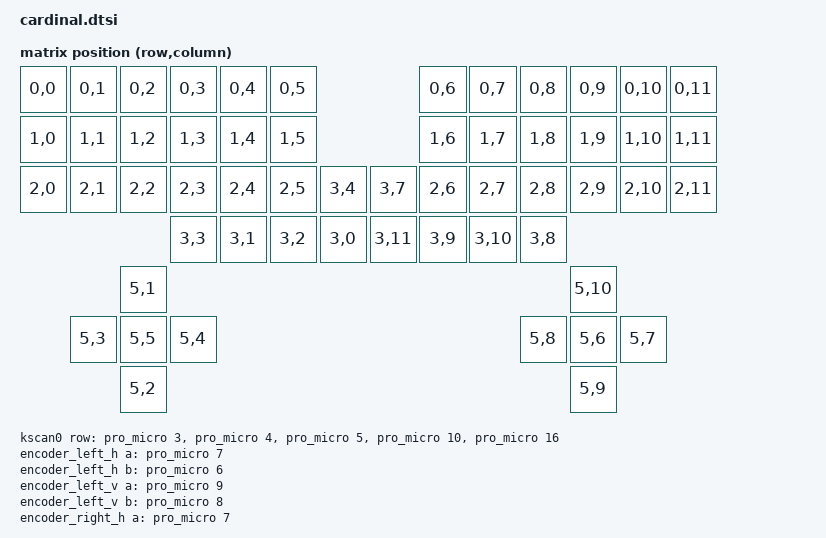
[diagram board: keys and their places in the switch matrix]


#include <dt-bindings/zmk/matrix_transform.h>

/ {

	chosen {
        zephyr,display = &oled;
		zmk,kscan = &kscan0;
		zmk,matrix_transform = &default_transform;
	};

	default_transform: keymap_transform_0 {
		compatible = "zmk,matrix-transform";
		columns = <12>;
		rows = <5>;

        // --------------------------------------------------------------------------------------------------------------------------------------------------------------------
        // Example layout from the schematic, we start at -1 column up to 5, with the posibility to remove the -1 column
        // then we have 3 main rows, 1 row dedicated for the thumb and 1 row for the 5 way. This is almost a perfect matrix and we could in theory get 2 extra switches from the matrix
        // In the opt spaces can be either the 5 way switch or a rotary encoder EWQDG from panasonic, with native support for 2 encoders or 1 encoder + 5 way switch, or you could handwire it #yolo
        // We map the 5 way switch in a funky way, because i can
        //         -1         1        2         3         4         5
        //1   |   ESC   |    Q    |    W    |    E    |    R    |    T    |                       |    Y    |    U    |    I    |    O    |    P    |    \    |
        //2   |   TAB   |    A    |    S    |    D    |    F    |    G    |                       |    H    |    J    |    K    |    L    |    ;    |    '    |
        //3   |  SHIFT  |    Z    |    X    |    C    |    V    |    B    |  (opt)  |   |  (opt)  |    N    |    M    |    ,    |    .    |    /    |  R CTRL |
        //T                                 |  (opt)  |    ALT  | RETURN  |  SPACE  |   |   TAB   |   BSPC  |   WIN   |  (opt)  |
        //5 (5 way)

		map = <
		    RC(0,0)  RC(0,1)  RC(0,2)  RC(0,3)  RC(0,4)  RC(0,5)                     RC(0,6)  RC(0,7)  RC(0,8)  RC(0,9)  RC(0,10) RC(0,11)
		    RC(1,0)  RC(1,1)  RC(1,2)  RC(1,3)  RC(1,4)  RC(1,5)                     RC(1,6)  RC(1,7)  RC(1,8)  RC(1,9)  RC(1,10) RC(1,11)
		    RC(2,0)  RC(2,1)  RC(2,2)  RC(2,3)  RC(2,4)  RC(2,5)  RC(3,4)  RC(3,7)   RC(2,6)  RC(2,7)  RC(2,8)  RC(2,9)  RC(2,10) RC(2,11)
		                               RC(3,3)  RC(3,1)  RC(3,2)  RC(3,0)  RC(3,11)  RC(3,9)  RC(3,10) RC(3,8)
                              RC(5,1)                                                                           RC(5,10)
                     RC(5,3)  RC(5,5)  RC(5,4)                                                         RC(5,8)  RC(5,6)  RC(5,7)               
                              RC(5,2)                                                                           RC(5,9)
		>;
	};

	kscan0: kscan {
		compatible = "zmk,kscan-gpio-matrix";
        diode-direction = "col2row";
		row-gpios
		    = <&pro_micro 3  (GPIO_ACTIVE_HIGH  | GPIO_PULL_DOWN)> 
		    , <&pro_micro 4  (GPIO_ACTIVE_HIGH  | GPIO_PULL_DOWN)>
            , <&pro_micro 5  (GPIO_ACTIVE_HIGH  | GPIO_PULL_DOWN)>
            , <&pro_micro 10 (GPIO_ACTIVE_HIGH  | GPIO_PULL_DOWN)>
            , <&pro_micro 16 (GPIO_ACTIVE_HIGH  | GPIO_PULL_DOWN)> //row for 5 way
		    ;
	};

	encoder_left_h: left_encoder_h {
        compatible = "alps,ec11";
        a-gpios = <&pro_micro 7 (GPIO_ACTIVE_HIGH | GPIO_PULL_UP)>;
        b-gpios = <&pro_micro 6 (GPIO_ACTIVE_HIGH | GPIO_PULL_UP)>;
        steps = <80>;
        status = "disabled";
    };

    encoder_left_v: left_encoder_v {
        compatible = "alps,ec11";
        a-gpios = <&pro_micro 9 (GPIO_ACTIVE_HIGH | GPIO_PULL_UP)>;
        b-gpios = <&pro_micro 8 (GPIO_ACTIVE_HIGH | GPIO_PULL_UP)>;
        steps = <80>;
        status = "disabled";
    };

    encoder_right_h: right_encoder_h {
        compatible = "alps,ec11";
        a-gpios = <&pro_micro 7 (GPIO_ACTIVE_HIGH | GPIO_PULL_UP)>;
        b-gpios = <&pro_micro 6 (GPIO_ACTIVE_HIGH | GPIO_PULL_UP)>;
        steps = <80>;
        status = "disabled";
    };

    encoder_right_v: right_encoder_v {
        compatible = "alps,ec11";
        a-gpios = <&pro_micro 9 (GPIO_ACTIVE_HIGH | GPIO_PULL_UP)>;
        b-gpios = <&pro_micro 8 (GPIO_ACTIVE_HIGH | GPIO_PULL_UP)>;
        steps = <80>;
        status = "disabled";
    };

	sensors {
        compatible = "zmk,keymap-sensors";
        sensors = < &encoder_left_h 
                    &encoder_left_v 
                    &encoder_right_h 
                    &encoder_right_v>;
        triggers-per-rotation = <20>;
    };

};

&pinctrl {

    i2c0_default: i2c0_default {
        group1 {
            psels = <NRF_PSEL(TWIM_SDA, 0, 8)>,
                    <NRF_PSEL(TWIM_SCL, 0, 17)>;
        };
    };
    i2c0_sleep: i2c0_sleep {
        group1 {
            psels = <NRF_PSEL(TWIM_SDA, 0, 8)>,
                    <NRF_PSEL(TWIM_SCL, 0, 17)>;
            low-power-enable;
            };
       };

    spi0_default: spi0_default {
        group1 {
            psels = <NRF_PSEL(SPIM_SCK, 0, 20)>,
                    <NRF_PSEL(SPIM_MOSI, 0, 8)>,
                    <NRF_PSEL(SPIM_MISO, 0, 17)>;
        };
    };
    spi0_sleep: spi0_sleep {
        group1 {
            psels = <NRF_PSEL(SPIM_SCK, 0, 6)>,
                    <NRF_PSEL(SPIM_MOSI, 0, 8)>,
                    <NRF_PSEL(SPIM_MISO, 0, 17)>;
            low-power-enable;
        };
    };
};

&pro_micro_i2c {
    status = "okay";

    oled: ssd1306@3c {
        compatible = "solomon,ssd1306fb";
        reg = <0x3c>;
        width = <128>;
        height = <64>;
        segment-offset = <0>;
        page-offset = <0>;
        display-offset = <0>;
        multiplex-ratio = <63>;//31
        //segment-remap;
        //com-invdir;
        //com-sequential;
        prechargep = <0x22>;
    };
};

nice_view_spi: &spi0 {
    status = "disabled";

    compatible = "nordic,nrf-spim";
    pinctrl-0 = <&spi0_default>;
    pinctrl-1 = <&spi0_sleep>;
    pinctrl-names = "default", "sleep";
    cs-gpios = <&pro_micro 1 GPIO_ACTIVE_HIGH>;
};
